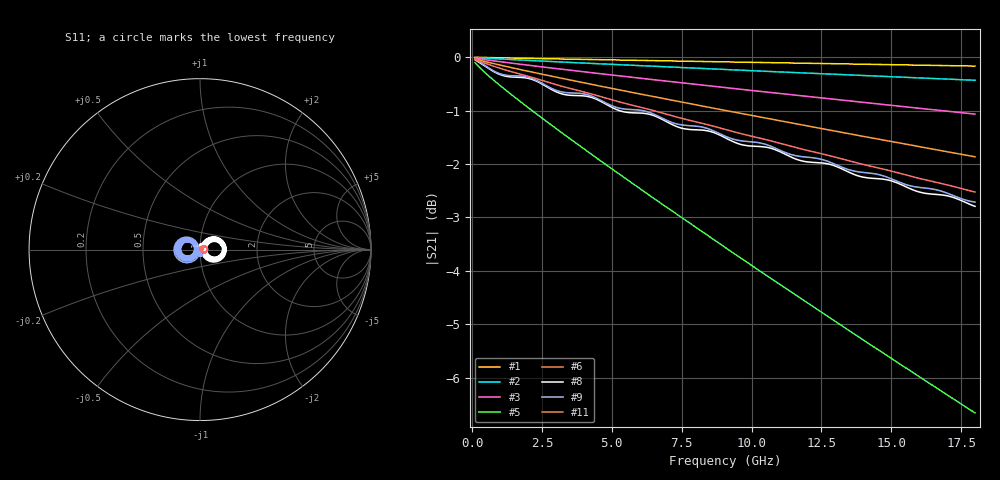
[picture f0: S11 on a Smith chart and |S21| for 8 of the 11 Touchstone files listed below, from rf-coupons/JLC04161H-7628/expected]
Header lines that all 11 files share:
! stackup JLC04161H-7628, nominal parameters; reference planes 10 mm from each end; 50 ohm (renormalized from the line's Zc)
! model: 2D quasi-static RLGC (Djordjevic-Sarkar, Huray roughness, Wheeler loss); generated by python -m yapnr.rf.coupons expected
# GHz S DB R 50
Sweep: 100 MHz to 18 GHz
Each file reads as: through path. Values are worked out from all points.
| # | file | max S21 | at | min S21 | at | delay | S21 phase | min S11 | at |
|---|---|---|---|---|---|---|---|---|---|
| 1 | A02-P-line.s2p | 0.00 dB | 100 MHz | -0.2 dB | 18 GHz | 14.8 ps | -48 deg at 9.1 GHz | -75.6 dB | 100 MHz |
| 2 | A03-P-line.s2p | -0.01 dB | 100 MHz | -0.4 dB | 18 GHz | 38.4 ps | -126 deg at 9.1 GHz | -67.3 dB | 100 MHz |
| 3 | A04-P-line.s2p | -0.02 dB | 100 MHz | -1.1 dB | 18 GHz | 94.4 ps | 50 deg at 9.1 GHz | -64.7 dB | 5.3 GHz |
| 4 | A05-P-line.s2p | -0.04 dB | 100 MHz | -2.7 dB | 18 GHz | 236 ps | -55 deg at 9.1 GHz | -67.1 dB | 2.1 GHz |
| 5 | A06-P-line.s2p | -0.10 dB | 100 MHz | -6.7 dB | 18 GHz | 590 ps | -138 deg at 9.1 GHz | -60.6 dB | 800 MHz |
| 6 | A08-P-verify.s2p | -0.03 dB | 100 MHz | -1.9 dB | 18 GHz | 165 ps | 177 deg at 9.1 GHz | -66.5 dB | 3 GHz |
| 7 | A09-PMO-variant.s2p | -0.04 dB | 100 MHz | -2.5 dB | 18 GHz | 225 ps | -18 deg at 9.1 GHz | -51.2 dB | 2.2 GHz |
| 8 | A10-P0.7-variant.s2p | -0.05 dB | 100 MHz | -2.8 dB | 18 GHz | 234 ps | -49 deg at 9.1 GHz | -42.1 dB | 2.1 GHz |
| 9 | A11-P1.4-variant.s2p | -0.04 dB | 100 MHz | -2.7 dB | 18 GHz | 239 ps | -64 deg at 9.1 GHz | -41.1 dB | 2.1 GHz |
| 10 | A12-M-variant.s2p | -0.04 dB | 100 MHz | -2.6 dB | 18 GHz | 244 ps | -81 deg at 9.1 GHz | -65.9 dB | 2 GHz |
| 11 | A13-MMO-variant.s2p | -0.04 dB | 100 MHz | -2.5 dB | 18 GHz | 236 ps | -54 deg at 9.1 GHz | -54.6 dB | 2.1 GHz |
